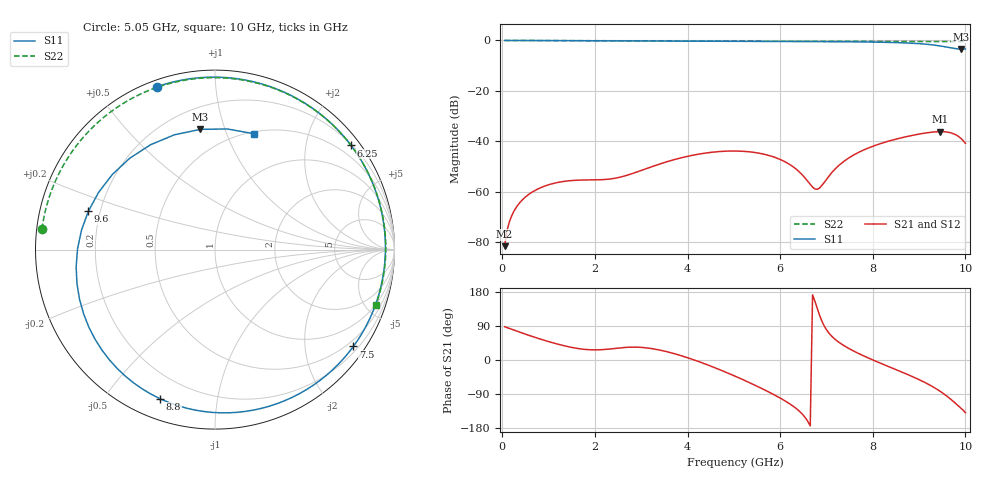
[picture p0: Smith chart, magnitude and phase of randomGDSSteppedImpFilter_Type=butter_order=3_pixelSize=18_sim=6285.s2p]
! freq	dB(S11)	phase(S11)	dB(S12)	phase(S12)
!  dB(S21)	phase(S21)	dB(S22)	phase(S22)
!S-par simulation data
#  GHz  S  DB  R 50
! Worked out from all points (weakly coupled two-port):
!   200 points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, 50 MHz to 10 GHz, reference 50 ohm
!   highest |S21| = -36.18 dB at 9.45 GHz (marker M1); lowest = -81.6 dB at 50 MHz (marker M2)
!   lowest |S11| = -3.4 dB at 9.9 GHz (marker M3), VSWR 5.15, Z = 16.8 + j41.4 ohm
!   |S11| at or under -10 dB: nowhere
!   |S22| runs from -0.5 to 0.0 dB; largest |S21 - S12| = 0
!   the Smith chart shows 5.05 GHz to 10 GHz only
!   S11 on the Smith chart (normalised r, x): 5.05 GHz: 0.03, +0.70; 6.25 GHz: 0.22, +2.94; 7.5 GHz: 0.33, -3.14; 8.8 GHz: 0.09, -0.69; 9.6 GHz: 0.15, +0.14; 10 GHz: 0.52, +1.25
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0.05  -0.00 -2.5  -81.63 87.8  -81.63 87.8  -0.00 -2.0
0.15  -0.01 -7.5  -72.14 83.4  -72.14 83.4  -0.01 -6.0
0.25  -0.02 -12.5  -67.79 78.9  -67.79 78.9  -0.01 -9.9
0.55  -0.03 -27.3  -61.38 66.0  -61.38 66.0  -0.03 -21.8
1.15  -0.07 -56.6  -56.53 43.4  -56.53 43.4  -0.06 -45.2
1.75  -0.11 -85.1  -55.37 28.4  -55.37 28.4  -0.09 -67.9
2.5  -0.15 -120.2  -54.43 31.5  -54.43 31.5  -0.12 -95.5
3.4  -0.20 -162.9  -49.02 26.2  -49.02 26.2  -0.16 -127.7
4.2  -0.26 156.8  -45.24 -2.3  -45.24 -2.3  -0.20 -156.0
5.05  -0.32 109.8  -43.88 -43.9  -43.88 -43.9  -0.26 173.3
5.65  -0.36 74.0  -45.13 -78.1  -45.13 -78.1  -0.30 150.8
6.25  -0.40 37.4  -49.74 -119.3  -49.74 -119.3  -0.33 127.4
6.7  -0.43 10.5  -58.19 172.0  -58.19 172.0  -0.35 109.4
6.85  -0.45 1.7  -58.57 118.6  -58.57 118.6  -0.36 103.3
7.5  -0.53 -35.0  -46.41 29.2  -46.41 29.2  -0.38 76.5
8.35  -0.77 -82.0  -39.91 -17.8  -39.91 -17.8  -0.40 41.8
8.8  -1.06 -110.2  -37.87 -40.8  -37.87 -40.8  -0.41 24.1
9.15  -1.49 -138.4  -36.69 -60.8  -36.69 -60.8  -0.42 10.8
9.45  -2.16 -172.9  -36.18 -82.2  -36.18 -82.2  -0.43 -0.1
9.6  -2.65 163.2  -36.34 -95.3  -36.34 -95.3  -0.44 -5.4
9.9  -3.42 96.9  -38.80 -126.8  -38.80 -126.8  -0.46 -15.8
10  -3.34 71.6  -40.81 -139.0  -40.81 -139.0  -0.47 -19.0
